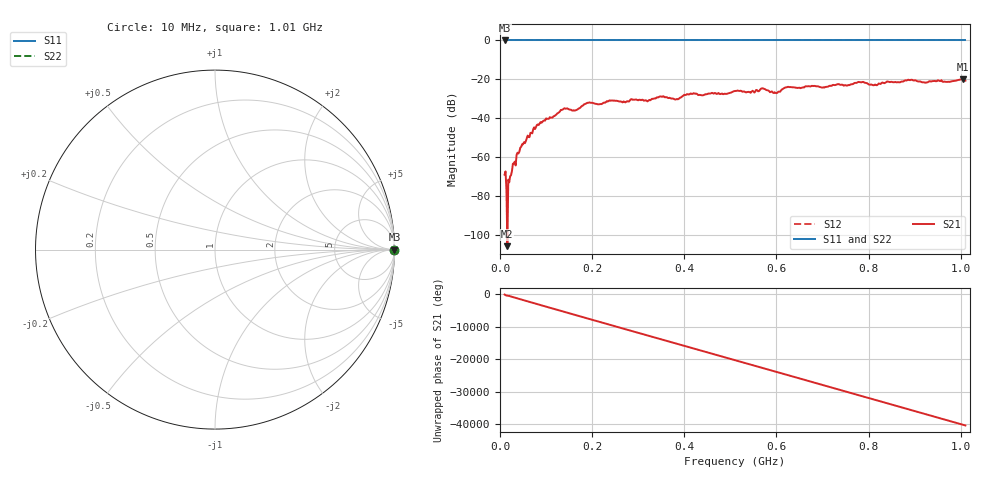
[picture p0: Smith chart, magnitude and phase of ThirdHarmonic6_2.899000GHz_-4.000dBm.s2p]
! 8/17/2025 8:00:13 AM
! C:\ANRITSUVNA\TEMP\TEMP.S2P
! CHANNEL.1
! TR.MEASUREMENT
! RAW.DATA
! RF.CORRECTION.OFF
! AVERAGING.OFF
! IF.BANDWIDTH: 5KHZ
! SWEEPTYPE:  FREQ.SWEEP(Linear)
! Reference Plane Port Info
! PORT:  PORT1  PORT2
! DISTANCE:  0  m  0  m
! TIME:  0  s  0  s
! PHASE.OFFSET:  0  deg.  0  deg.
! LOSS:  0  dB  0  dB
! REF.LOSS:  0  dB  0  dB
! REF.FREQ:  0  Hz  0  Hz
! Power Info
! POWER:  -20  dBm  -20  dBm
! EFF.POWER:  -20  dBm  -20  dBm
! SOURCE.ATTEN:  0  dB  0  dB
! TEST.ATTEN:  0  dB  0  dB
# GHZ S RI R 50.0
! FREQ.GHZ  S11RE  S11IM  S21RE  S21IM  S12RE  S12IM  S22RE  S22IM
!; PortSelection: Port_12
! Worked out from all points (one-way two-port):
!   501 points, 10 MHz to 1.01 GHz, reference 50 ohm
!   highest |S21| = -19.98 dB at 1.004 GHz (marker M1); lowest = -105.9 dB at 16 MHz (marker M2)
!   lowest |S11| = 0.0 dB at 10 MHz (marker M3)
!   |S11| at or under -10 dB: nowhere
!   |S22| runs from 0.0 to 0.0 dB; largest |S21 - S12| = 1.1
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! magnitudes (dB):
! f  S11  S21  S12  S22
! 10 MHz  0.0  -69.1  0.0  0.0
! 16 MHz  0.0  -105.9  0.0  0.0
! 18 MHz  0.0  -71.7  0.0  0.0
! 26 MHz  0.0  -67.1  0.0  0.0
! 40 MHz  0.0  -58.2  0.0  0.0
! 78 MHz  0.0  -44.7  0.0  0.0
! 136 MHz  0.0  -35.6  0.0  0.0
! 162 MHz  0.0  -36.1  0.0  0.0
! 178 MHz  0.0  -33.7  0.0  0.0
! 192 MHz  0.0  -32.1  0.0  0.0
! 322 MHz  0.0  -31.0  0.0  0.0
! 344 MHz  0.0  -29.3  0.0  0.0
! 384 MHz  0.0  -30.2  0.0  0.0
! 416 MHz  0.0  -27.5  0.0  0.0
! 510 MHz  0.0  -26.0  0.0  0.0
! 570 MHz  0.0  -24.7  0.0  0.0
! 598 MHz  0.0  -27.0  0.0  0.0
! 622 MHz  0.0  -24.1  0.0  0.0
! 678 MHz  0.0  -23.4  0.0  0.0
! 844 MHz  0.0  -21.3  0.0  0.0
! 1.004 GHz  0.0  -20.0  0.0  0.0
! 1.01 GHz  0.0  -20.7  0.0  0.0
